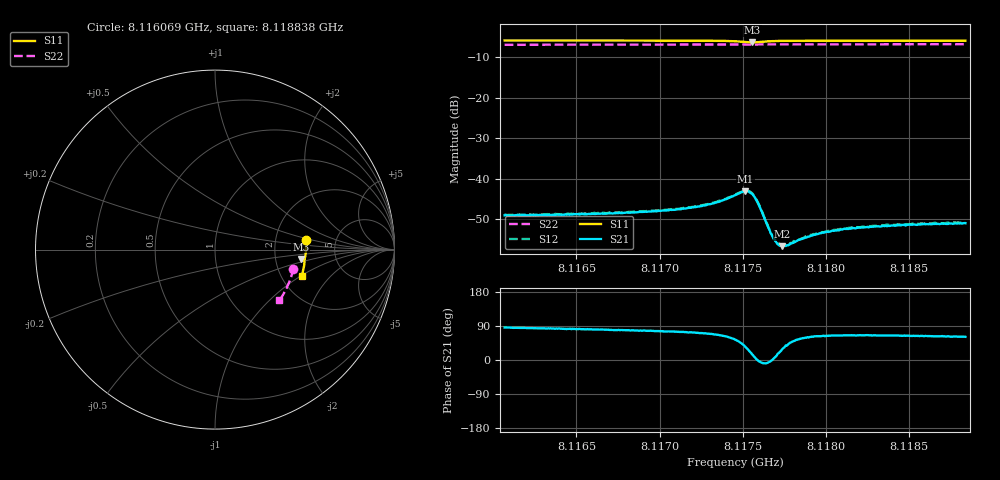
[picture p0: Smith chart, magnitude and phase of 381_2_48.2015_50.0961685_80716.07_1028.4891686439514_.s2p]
#  HZ  S  RI  R  50.00
! Rohde & Schwarz Vector Network Analyzer
! Rohde-Schwarz,ZNB20-2Port,1311601062101988,3.16
! Created: UTC 3/20/2024, 11:53:07 AM
! freq[Hz]  re:S11  im:S11  re:S21  im:S21  re:S12  im:S12  re:S22  im:S22
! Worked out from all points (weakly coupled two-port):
!   401 points, 8.116069 GHz to 8.118838 GHz, reference 50 ohm
!   highest |S21| = -43.14 dB at 8.117516 GHz (marker M1); lowest = -56.7 dB at 8.117737 GHz (marker M2)
!   lowest |S11| = -6.4 dB at 8.117557 GHz (marker M3), VSWR 2.85, Z = 139 - j18.9 ohm
!   |S11| at or under -10 dB: nowhere
!   |S22| runs from -7.0 to -6.8 dB; largest |S21 - S12| = 0.00022
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8.1160685e9  0.5045 0.0532  0.000268 0.00351  0.00033 0.00356  0.4363 -0.1058
8.1165324e9  0.5063 0.0183  0.000558 0.00362  0.000621 0.00367  0.4287 -0.1371
8.1169963e9  0.5055 -0.0177  0.000948 0.00389  0.00101 0.00395  0.4189 -0.1679
8.117121e9  0.5043 -0.0277  0.00115 0.00403  0.00116 0.00411  0.416 -0.1762
8.1172871e9  0.5018 -0.0423  0.00166 0.00448  0.00173 0.00453  0.4116 -0.1871
8.1173841e9  0.4983 -0.0518  0.00241 0.00487  0.0025 0.00493  0.4089 -0.1933
8.1174533e9  0.4924 -0.0586  0.00366 0.00506  0.00379 0.00511  0.4066 -0.1977
8.1175156e9  0.4818 -0.0598  0.00571 0.00398  0.0058 0.00404  0.4044 -0.2015
8.1175364e9  0.4785 -0.0567  0.00624 0.00293  0.00638 0.00292  0.4037 -0.2024
8.1175572e9  0.4774 -0.0521  0.00623 0.00159  0.00639 0.00156  0.4033 -0.2035
8.117571e9  0.4785 -0.0492  0.00588 0.000741  0.00599 0.000742  0.403 -0.2042
8.1175918e9  0.4818 -0.046  0.00497 -0.000135  0.00504 -0.000147  0.4024 -0.2055
8.117661e9  0.4935 -0.0488  0.00231 -0.000202  0.00234 -0.000224  0.4011 -0.2099
8.1176887e9  0.4959 -0.0521  0.00177 0.000164  0.00183 0.000144  0.4004 -0.2117
8.1177095e9  0.4969 -0.0546  0.00149 0.000427  0.00155 0.000403  0.3997 -0.2131
8.1177372e9  0.4979 -0.0579  0.00129 0.000703  0.00134 0.000686  0.3988 -0.2149
8.1177856e9  0.4989 -0.0631  0.00109 0.00113  0.00113 0.00115  0.3974 -0.218
8.1178826e9  0.4988 -0.0725  0.000965 0.00161  0.00103 0.00165  0.3943 -0.2241
8.1179172e9  0.4986 -0.0756  0.000935 0.00175  0.000982 0.00175  0.3933 -0.2263
8.1181041e9  0.4964 -0.091  0.001 0.00216  0.00103 0.00219  0.3871 -0.2377
8.1183811e9  0.492 -0.1121  0.00113 0.00235  0.00114 0.00241  0.3772 -0.2547
8.1188381e9  0.483 -0.1455  0.00136 0.00247  0.00138 0.00252  0.3593 -0.2813
